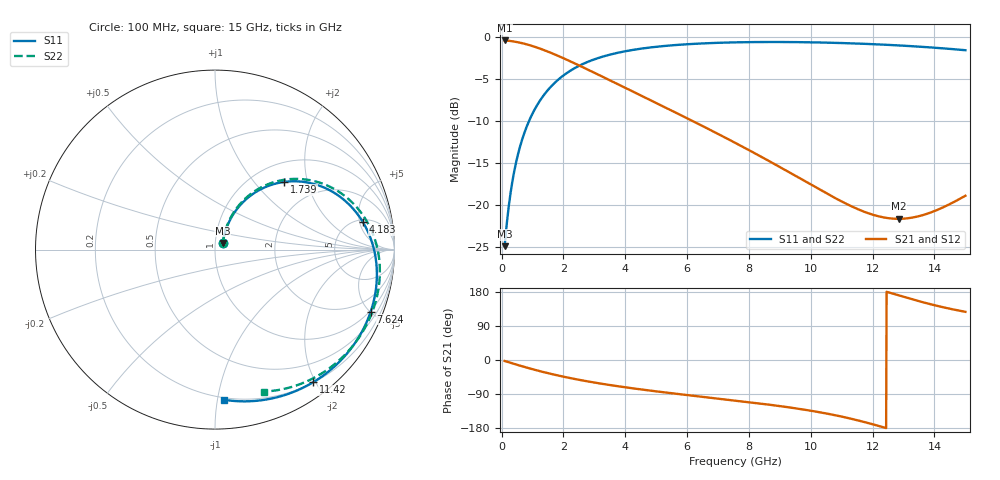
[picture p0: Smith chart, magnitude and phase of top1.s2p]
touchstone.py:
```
from numpy import array, reshape, transpose, cos, sin, empty, pi, asfarray, tan, angle, delete
import time

__all__ = ['snp', 'sf']

class snp(object):
    def __init__(self, filename=""):
        self.filename = filename
	extension = [c for c in filename.split('.')[-1]]
	if len(extension)<>3 or extension[0]<>'s' or extension[2]<>'p' :
	    raise Exception('the filename is not a snp file')
	self.n = int(extension[1])
        self.raw =  {}

    def read(self):

        with open(self.filename) as f:

            ### READ HEADER
	    while 1:
                pos = f.tell()
                line = f.readline()
	        line= line.strip()
	        if line[0] == '!':
	            pass
	        elif line[0] == '#':
		    x = line[1:].split()
		    unitFREQ = 1.0
		    try:
		        if x[0][0] == 'G':
		            unitFREQ =1e9
		        elif x[0][0] == 'M':
		            unitFREQ =1e6
		        elif x[0][0].lower() == 'k':
		            unitFREQ =1e3
		    except:
		        pass
     	            isMA = False
		    try:
		        if x[x.index('S')+1] == 'MA':
		            isMA = True
		    except:
		        pass
		    self.Z0 = 50.
		    try:
		        self.Z0 = float(x[x.index('R')+1])
		    except:
		        pass
	        else:
                    f.seek(pos)
                    break

            ### READ DATA 
            try:
                data = f.read().split()
                data = asfarray(data)  # string to float :: do the recasting by numpy (fastest)
                n = 2*self.n**2+1
                m = len(data)/n
                data = reshape(data, (m, n)) # virtual 
                data = transpose(data)  # transpose, virtual
                data[0] *= unitFREQ
                if isMA: # convert to complex
                   for i in xrange(self.n*self.n):
                        data[i*2+2] *= pi/180.
                        data[i*2+1] *= cos(data[i*2+2])
                        data[i*2+2] = data[i*2+1] * tan(data[i*2+2])
            except:
                raise Exception('the file is not well formatted')

        ### S-DATA to Dict
        size = data.shape[1]

        self.raw['freq'] = data[0]

        if self.n == 2:  # s12 <-> s21 
            value = empty(size, dtype=complex)
            value.real, value.imag = data[1:3]
            self.raw['s11'] = value
            value = empty(size, dtype=complex)
            value.real, value.imag = data[3:5]
            self.raw['s21'] = value
            value = empty(size, dtype=complex)
            value.real, value.imag = data[5:7]
            self.raw['s12'] = value
            value = empty(size, dtype=complex)
            value.real, value.imag = data[7:9]
            self.raw['s22'] = value
        else:
            for j in xrange(self.n):
                for i in xrange(self.n):
                    value = empty(size, dtype=complex)
                    value.real, value.imag = data[4*i + 2*j + 1:4*i + 2*j + 3]
                    self.raw['s%d%d'%(i+1,j+1)] = value

        return self

    def keys(self):
        return self.raw.keys()

    def __getitem__(self, key):
        return self.raw.__getitem__(key)

    def update(self, **d):
        return self.raw.update(d)
        
    def write(self):

        with open(self.filename, 'w') as g:
            g.write( "! TOUCHSTONE file generated by Touchstone Python Converter\n" )
            g.write( "! Date and time: %s\n"%time.strftime("%b %d %Y %H:%M:%S") )
            g.write( "# GHZ S RI R 50\n" )
            if self.n==1:
                for row in zip(self.raw['freq'], self.raw['s11']):
                    freq, s11 = row
                    freq *= 1e-9
                    pattern = "{:<15.6e}{:>15.6e}{:>15.6e}\n"
                    g.write( pattern.format(freq, s11.real, s11.imag) )
            elif self.n==2:
                for row in zip(self.raw['freq'], self.raw['s11'], self.raw['s12'], self.raw['s21'], self.raw['s22']):
                    freq, s11, s12, s21, s22 = row
                    freq *= 1e-9
                    pattern = "{:<15.6e}{:>15.6e}{:>15.6e}{:>15.6e}{:>15.6e}{:>15.6e}{:>15.6e}{:>15.6e}{:>15.6e}\n"
                    g.write( pattern.format(freq, s11.real, s11.imag, s21.real, s21.imag, s12.real, s12.imag, s22.real, s22.imag) )
            else:
                Exception('not yet implemented')
                
            

class sf(object):
    def __init__(self, filename=""):
        self.filename = filename
	extension = filename.split('.')[-1]
        if not extension=='sf':
            raise Exception('wrong extension')
	self.n = 2
        self.raw = {}

    def read(self):

        with open(self.filename) as f:
            pos2 = 2**28
            ### READ HEADER
	    while 1:
                line = f.readline()
	        line = line.strip()
	        if line[0] == '!':
                    if line.lower() == '! noise parameters':
                        pos2 = pos
                        pos3 = f.tell()
                        break
                    pos1 = f.tell()
	        elif line[0] == '#':
		    x = line[1:].split()
		    unitFREQ = 1.0
		    try:
		        if x[0][0] == 'G':
		            unitFREQ =1e9
		        elif x[0][0] == 'M':
		            unitFREQ =1e6
		        elif x[0][0].lower() == 'k':
		            unitFREQ =1e3
		    except:
		        pass
     	            isMA = False
		    try:
		        if x[x.index('S')+1] == 'MA':
		            isMA = True
		    except:
		        pass
		    self.Z0 = 50.
		    try:
		        self.Z0 = float(x[x.index('R')+1])
		    except:
		        pass
                    pos1 = f.tell()
                else:
	            pos = f.tell()

            # Search end of Noise Block    ### FIX : extra comments after Noise section
 	    while 1:
                pos4 = f.tell()
                line = f.readline()
                if line=='' or line[0] == '!':
                    break

            ### READ S-DATA BLOCK
            try:
                f.seek(pos1)
                data = f.read(pos2-pos1)
                data = data.split()
                data = asfarray(data)  # string to float 
                data = reshape(data, (len(data)/9, 9)) 
                data = transpose(data)
                if isMA: # convert to complex
                   for i in xrange(4):
                        data[i*2+2] *= pi/180.
                        data[i*2+1] *= cos(data[i*2+2])
                        data[i*2+2] = data[i*2+1] * tan(data[i*2+2])
            except BaseException, e:
                print e
                raise Exception('the file is not well formatted')

            ### READ NOISE BLOCK

            try:
                f.seek(pos3)
                noise = f.read(pos4-pos3)
                noise = noise.split()
                noise = asfarray(noise)  # string to float 
                noise = reshape(noise, (len(noise)/5, 5)) 
                noise = transpose(noise)
            except:
                raise Exception('the file is not well formatted')

        ### S-DATA to Dict
        size1 = data.shape[1]
        self.raw['freq'] = data[0]*unitFREQ
        value = empty(size1, dtype=complex)
        value.real, value.imag = data[1:3]
        self.raw['s11'] = value
        value = empty(size1, dtype=complex)
        value.real, value.imag = data[3:5]
        self.raw['s21'] = value
        value = empty(size1, dtype=complex)
        value.real, value.imag = data[5:7]
        self.raw['s12'] = value
        value = empty(size1, dtype=complex)
        value.real, value.imag = data[7:9]
        self.raw['s22'] = value

        ### Noise to Dict
        size2 = noise.shape[1]
        self.raw['nfmin'] = noise[1]
        value = empty(size2, dtype=complex)
        value.imag = noise[3] * (pi/180.)
        value.real = noise[2] * cos(value.imag)
        value.imag = noise[2] * sin(value.imag)
        self.raw['sopt'] = value
        self.raw['rn'] = noise[4]*self.Z0


        # FIX in case of discrepancy size between data and noise (noise must have less points than s-param)
        # TODO: use only 1 delete
        if size2<size1:
            print 'Warning: Noise data is different than S-param data, S-param is reduced from %d to %d points...' % (size1, size2)
            indexes = [i for i, x in enumerate(data[0]) if x not in noise[0]]
            self.raw['freq'] = delete(self.raw['freq'], indexes)
            self.raw['s11'] = delete(self.raw['s11'], indexes)
            self.raw['s12'] = delete(self.raw['s12'], indexes)
            self.raw['s21']= delete(self.raw['s21'], indexes)
            self.raw['s22']= delete(self.raw['s22'], indexes)

        return self

    def keys(self):
        return self.raw.keys()

    def __getitem__(self, key):
        return self.raw.__getitem__(key)

    def update(self, **d):
        return self.raw.update(d)

    def write(self, MA=False):

        with open(self.filename, 'w') as g:
            g.write( "! TOUCHSTONE file generated by Touchstone Python Converter\n" )
            g.write( "! Date and time: %s\n"%time.strftime("%b %d %Y %H:%M:%S") )
            if MA:
                g.write( "# GHZ S MA R 50\n" )
                for row in zip(self.raw['freq'], self.raw['s11'], self.raw['s12'], self.raw['s21'], self.raw['s22']):
                    freq, s11, s12, s21, s22 = row
                    freq *= 1e-9
                    ms11, as11 = abs(s11), angle(s11,deg=True)
                    ms12, as12 = abs(s12), angle(s12,deg=True)
                    ms21, as21 = abs(s21), angle(s21,deg=True)
                    ms22, as22 = abs(s22), angle(s22,deg=True)
                    pattern = "{:<15.6e}{:>15.6e}{:>15.6e}{:>15.6e}{:>15.6e}{:>15.6e}{:>15.6e}{:>15.6e}{:>15.6e}\n"
                    g.write( pattern.format(freq, ms11, as11, ms21, as21, ms12, as12, ms22, as22) )
            else:
                g.write( "# GHZ S RI R 50\n" )
                for row in zip(self.raw['freq'], self.raw['s11'], self.raw['s12'], self.raw['s21'], self.raw['s22']):
                    freq, s11, s12, s21, s22 = row
                    freq *= 1e-9
                    pattern = "{:<15.6e}{:>15.6e}{:>15.6e}{:>15.6e}{:>15.6e}{:>15.6e}{:>15.6e}{:>15.6e}{:>15.6e}\n"
                    g.write( pattern.format(freq, s11.real, s11.imag, s21.real, s21.imag, s12.real, s12.imag, s22.real, s22.imag) )
           
            g.write( "! noise parameters\n" )
            for row in zip(self.raw['freq'], self.raw['nfmin'], self.raw['sopt'], self.raw['rn']):
                freq, nfmin, sopt, rn = row
                freq *= 1e-9
                msopt, asopt = abs(sopt), angle(sopt,deg=True)
                rn *= 1./50.
                pattern = "{:<15.6e}{:>15.6e}{:>15.6e}{:>15.6e}{:>15.6e}\n"
                #print freq, nfmin, msopt, asopt, rn
                g.write( pattern.format(freq, nfmin, msopt, asopt, rn) )
            

		        
if __name__=='__main__':
    x = snp('top1.s2p').read()
    import cmath
    from math import pi
    angle1 = lambda x: cmath.phase(x)*180/pi
    y = x['s21'][0]
    print abs(y), angle1(y)
```
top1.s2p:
! TOUCHSTONE file generated by CST MICROWAVE STUDIO
! Date and time: Wed Aug 05 18:28:33 2015
! Project name: top1.cst
# GHZ S MA R 50
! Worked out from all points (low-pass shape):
!   1001 points, 100 MHz to 15 GHz, reference 50 ohm
!   highest |S21| = -0.37 dB at 100 MHz (marker M1); lowest = -21.6 dB at 12.84 GHz (marker M2)
!   |S21| within 3 dB of the highest: start of sweep to 2.52 GHz
!   lowest |S11| = -24.9 dB at 100 MHz (marker M3), VSWR 1.12, Z = 54.4 + j3.95 ohm
!   |S11| at or under -10 dB: start of sweep to 887.5 MHz
!   |S22| runs from -24.9 to -0.5 dB; largest |S21 - S12| = 0.00065
!   S11 on the Smith chart (normalised r, x): 100 MHz: 1.09, +0.08; 1.739 GHz: 1.36, +1.45; 4.183 GHz: 5.41, +5.60; 7.624 GHz: 0.94, -5.05; 11.42 GHz: 0.21, -1.96; 15 GHz: 0.19, -1.04
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0.1  0.05681 39.6  0.958 -2.6  0.9576 -2.6  0.05657 40.0
0.3682  0.1441 62.3  0.9462 -9.3  0.9457 -9.3  0.1441 63.2
0.6811  0.2503 61.8  0.9216 -16.9  0.9211 -16.9  0.2508 62.8
1.739  0.5395 44.4  0.7882 -39.3  0.7885 -39.3  0.5405 45.8
2.9459  0.7329 25.8  0.622 -58.7  0.6226 -58.7  0.7333 28.3
4.1826  0.8375 10.6  0.4814 -74.1  0.4816 -74.1  0.8385 14.4
7.5649  0.9335 -21.2  0.2344 -107.1  0.2344 -107.1  0.9372 -14.0
7.6245  0.9339 -21.7  0.2313 -107.6  0.2313 -107.6  0.9378 -14.4
11.424  0.9193 -53.6  0.09619 -157.3  0.09623 -157.3  0.9264 -41.9
12.8395  0.8949 -66.1  0.08272 170.7  0.08291 170.5  0.9017 -52.7
15  0.8379 -86.7  0.1136 127.2  0.1137 127.1  0.8368 -70.9
